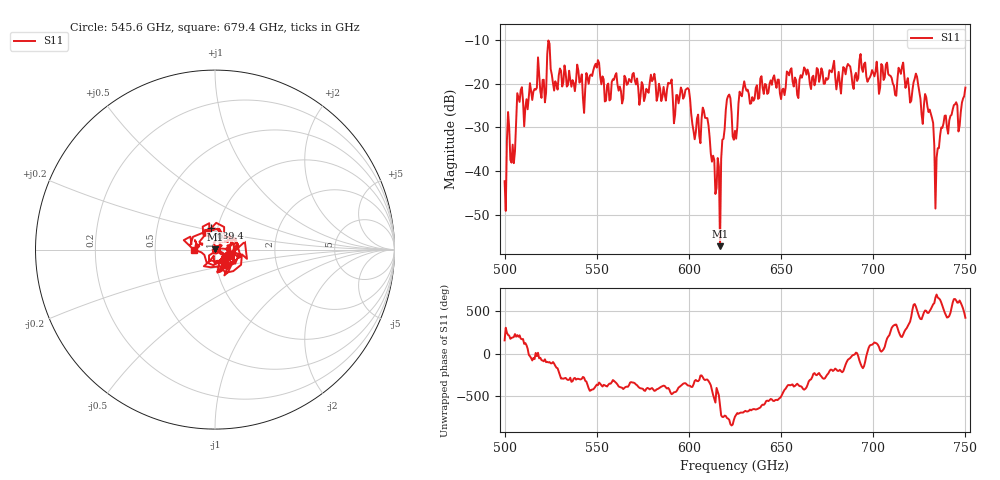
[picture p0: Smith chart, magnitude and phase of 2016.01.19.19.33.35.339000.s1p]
!Created with skrf (http://scikit-rf.org).
# GHz S RI R 50.0
!freq ReS11 ImS11
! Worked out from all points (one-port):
!   401 points, 500 GHz to 750 GHz, reference 50 ohm
!   lowest |S11| = -57.2 dB at 616.9 GHz (marker M1), VSWR 1.00, Z = 50 + j0.135 ohm
!   |S11| at or under -10 dB: start of sweep to end of sweep
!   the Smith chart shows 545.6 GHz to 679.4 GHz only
!   S11 on the Smith chart (normalised r, x): 545.6 GHz: 1.11, -0.18; 639.4 GHz: 0.93, +0.23; 679.4 GHz: 0.79, -0.00
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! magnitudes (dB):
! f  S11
! 500 GHz  -42.3
! 502.5 GHz  -30.1
! 504.4 GHz  -34.0
! 508.1 GHz  -24.2
! 521.2 GHz  -19.1
! 524.4 GHz  -10.9
! 527.5 GHz  -19.5
! 531.2 GHz  -20.7
! 545.6 GHz  -20.1
! 562.5 GHz  -20.7
! 593.8 GHz  -22.7
! 599.4 GHz  -21.1
! 603.1 GHz  -32.8
! 608.8 GHz  -27.9
! 615.6 GHz  -37.1
! 616.9 GHz  -57.2
! 621.2 GHz  -22.9
! 625 GHz  -30.8
! 628.8 GHz  -22.9
! 639.4 GHz  -18.3
! 656.2 GHz  -19.5
! 679.4 GHz  -18.6
! 687.5 GHz  -16.1
! 718.8 GHz  -18.8
! 729.4 GHz  -25.2
! 734.4 GHz  -36.9
! 738.1 GHz  -29.1
! 750 GHz  -20.9
